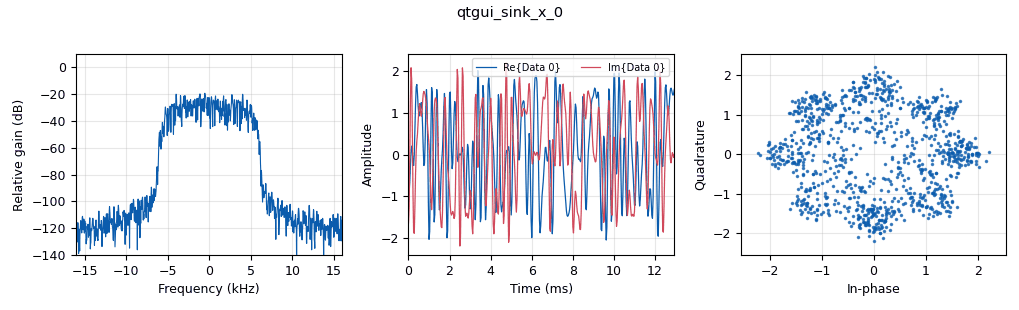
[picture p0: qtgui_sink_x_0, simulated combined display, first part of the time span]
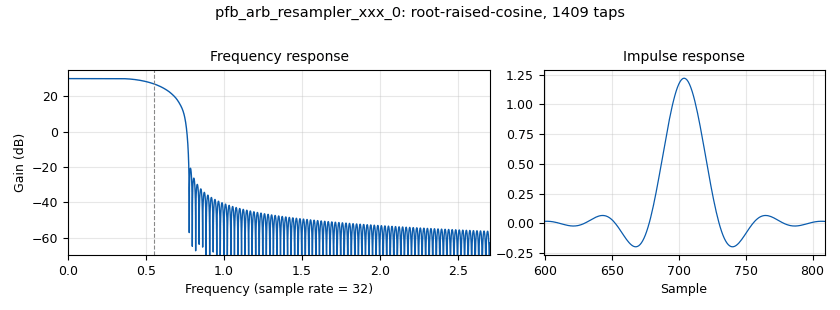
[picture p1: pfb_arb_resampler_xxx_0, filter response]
<?xml version='1.0' encoding='utf-8'?>
<?grc format='1' created='3.7.11'?>
<flow_graph>
<block>
<key>options</key>
<param><key>id</key><value>top_block</value></param>
<param><key>generate_options</key><value>qt_gui</value></param>
</block>
<block>
<key>variable</key>
<param><key>id</key><value>const_points</value></param>
<param><key>value</key><value>4</value></param>
</block>
<block>
<key>variable</key>
<param><key>id</key><value>excess_bw</value></param>
<param><key>value</key><value>0.4</value></param>
</block>
<block>
<key>variable</key>
<param><key>id</key><value>nfilts</value></param>
<param><key>value</key><value>32</value></param>
</block>
<block>
<key>variable</key>
<param><key>id</key><value>ntaps</value></param>
<param><key>value</key><value>11*nfilts*sps</value></param>
</block>
<block>
<key>variable</key>
<param><key>id</key><value>samp_rate</value></param>
<param><key>value</key><value>32000</value></param>
</block>
<block>
<key>variable</key>
<param><key>id</key><value>sps</value></param>
<param><key>value</key><value>4</value></param>
</block>
<block>
<key>analog_random_source_x</key>
<param><key>id</key><value>analog_random_source_x_0</value></param>
<param><key>max</key><value>8</value></param>
<param><key>min</key><value>0</value></param>
<param><key>num_samps</key><value>1000</value></param>
<param><key>type</key><value>byte</value></param>
<param><key>repeat</key><value>True</value></param>
</block>
<block>
<key>blocks_add_xx</key>
<param><key>id</key><value>blocks_add_xx_0</value></param>
<param><key>type</key><value>complex</value></param>
</block>
<block>
<key>blocks_delay</key>
<param><key>id</key><value>blocks_delay_0</value></param>
<param><key>delay</key><value>1</value></param>
<param><key>type</key><value>complex</value></param>
</block>
<block>
<key>blocks_multiply_const_vxx</key>
<param><key>id</key><value>blocks_multiply_const_vxx_0</value></param>
<param><key>const</key><value>0.5</value></param>
<param><key>type</key><value>complex</value></param>
</block>
<block>
<key>digital_chunks_to_symbols_xx</key>
<param><key>id</key><value>digital_chunks_to_symbols_xx_0</value></param>
<param><key>dimension</key><value>1</value></param>
<param><key>in_type</key><value>byte</value></param>
<param><key>out_type</key><value>complex</value></param>
<param><key>symbol_table</key><value>((0.70711+0.70711j),(0.00000+1.00000j),(-0.70711+0.70711j),(-1.00000+0.00000j),(-0.70711+-0.70711j),(-0.00000+-1.00000j),(0.70711+-0.70711j),(1.00000+-0.00000j))</value></param>
</block>
<block>
<key>import</key>
<param><key>id</key><value>import_0</value></param>
<param><key>import</key><value>from math import pi</value></param>
</block>
<block>
<key>import</key>
<param><key>id</key><value>import_0_0</value></param>
<param><key>import</key><value>from gnuradio import filter</value></param>
</block>
<block>
<key>import</key>
<param><key>id</key><value>import_0_1</value></param>
<param><key>import</key><value>from gnuradio import digital</value></param>
</block>
<block>
<key>pfb_arb_resampler_xxx</key>
<param><key>id</key><value>pfb_arb_resampler_xxx_0</value></param>
<param><key>nfilts</key><value>32</value></param>
<param><key>rrate</key><value>sps</value></param>
<param><key>atten</key><value>100</value></param>
<param><key>taps</key><value>firdes.root_raised_cosine  (nfilts,  nfilts,  1.1,  0.4,  ntaps)</value></param>
<param><key>type</key><value>ccf</value></param>
</block>
<block>
<key>qtgui_sink_x</key>
<param><key>id</key><value>qtgui_sink_x_0</value></param>
<param><key>bw</key><value>samp_rate</value></param>
<param><key>fc</key><value>0</value></param>
<param><key>freqchangevar</key><value>None</value></param>
<param><key>fftsize</key><value>1024</value></param>
<param><key>showports</key><value>True</value></param>
<param><key>type</key><value>complex</value></param>
<param><key>wintype</key><value>firdes.WIN_BLACKMAN_hARRIS</value></param>
</block>
<connection><source_block_id>analog_random_source_x_0</source_block_id><sink_block_id>digital_chunks_to_symbols_xx_0</sink_block_id><source_key>0</source_key><sink_key>0</sink_key></connection>
<connection><source_block_id>blocks_add_xx_0</source_block_id><sink_block_id>qtgui_sink_x_0</sink_block_id><source_key>0</source_key><sink_key>0</sink_key></connection>
<connection><source_block_id>blocks_delay_0</source_block_id><sink_block_id>blocks_add_xx_0</sink_block_id><source_key>0</source_key><sink_key>0</sink_key></connection>
<connection><source_block_id>blocks_multiply_const_vxx_0</source_block_id><sink_block_id>blocks_delay_0</sink_block_id><source_key>0</source_key><sink_key>0</sink_key></connection>
<connection><source_block_id>digital_chunks_to_symbols_xx_0</source_block_id><sink_block_id>pfb_arb_resampler_xxx_0</sink_block_id><source_key>0</source_key><sink_key>0</sink_key></connection>
<connection><source_block_id>pfb_arb_resampler_xxx_0</source_block_id><sink_block_id>blocks_add_xx_0</sink_block_id><source_key>0</source_key><sink_key>1</sink_key></connection>
<connection><source_block_id>pfb_arb_resampler_xxx_0</source_block_id><sink_block_id>blocks_multiply_const_vxx_0</sink_block_id><source_key>0</source_key><sink_key>0</sink_key></connection>
</flow_graph>
